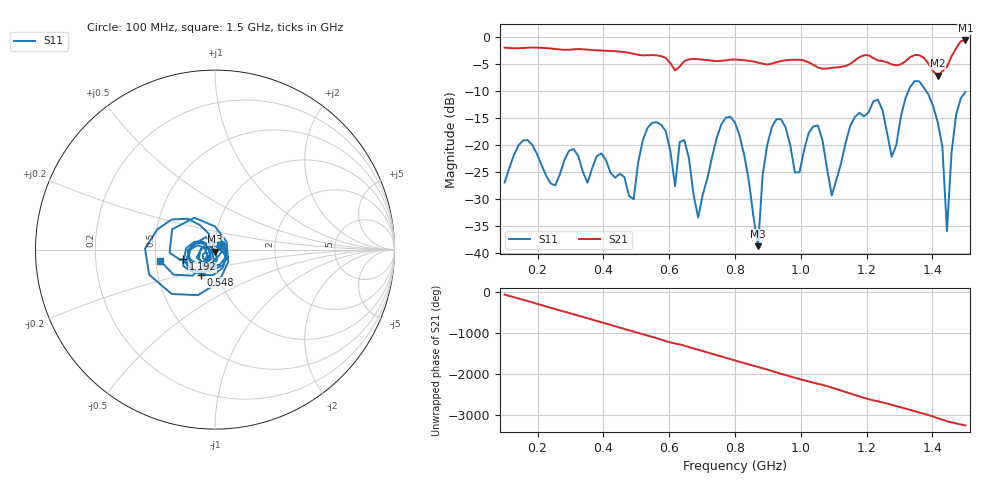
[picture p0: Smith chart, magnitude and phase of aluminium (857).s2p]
! NanoVNA-App
! Date: 2025-09-25 15:01:57
! Start: 100MHz Stop: 1,5GHz Points: 101
! S-Parameter data: F S11 S21 S12 S22
# Hz S RI R 50
!  Frequency  S11_Real  S11_Imag  S21_Real  S21_Imag  S12_Real  S12_Imag  S22_Real  S22_Imag
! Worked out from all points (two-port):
!   101 points, 100 MHz to 1.5 GHz, reference 50 ohm
!   highest |S21| = -0.58 dB at 1.5 GHz (marker M1); lowest = -7.1 dB at 1.416 GHz (marker M2)
!   |S21| within 3 dB of the highest: start of sweep to 579.4 MHz; 1.457 GHz to end of sweep (the widest 2 of 4)
!   lowest |S11| = -38.8 dB at 870 MHz (marker M3), VSWR 1.02, Z = 50.1 - j1.15 ohm
!   |S11| at or under -10 dB: start of sweep to 1.327 GHz; 1.381 GHz to end of sweep
!   S12 and S22 are empty: the file has one direction only
!   S11 on the Smith chart (normalised r, x): 100 MHz: 1.07, +0.06; 548 MHz: 0.82, -0.23; 1.192 GHz: 0.70, -0.08; 1.5 GHz: 0.53, -0.07
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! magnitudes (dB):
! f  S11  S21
! 100 MHz  -27.0  -1.9
! 156 MHz  -19.1  -2.0
! 338 MHz  -25.0  -2.2
! 492 MHz  -30.1  -3.1
! 548 MHz  -15.9  -3.3
! 576 MHz  -16.3  -3.5
! 618 MHz  -27.6  -6.2
! 646 MHz  -19.1  -4.4
! 688 MHz  -33.5  -4.1
! 800 MHz  -15.9  -4.1
! 870 MHz  -38.8  -4.7
! 912 MHz  -16.7  -4.9
! 982 MHz  -25.1  -4.2
! 1.038 GHz  -16.5  -5.1
! 1.094 GHz  -29.4  -5.7
! 1.192 GHz  -14.7  -3.3
! 1.276 GHz  -22.2  -5.0
! 1.346 GHz  -8.1  -3.3
! 1.416 GHz  -15.8  -7.1
! 1.444 GHz  -36.0  -5.5
! 1.472 GHz  -14.3  -2.0
! 1.5 GHz  -10.1  -0.6
